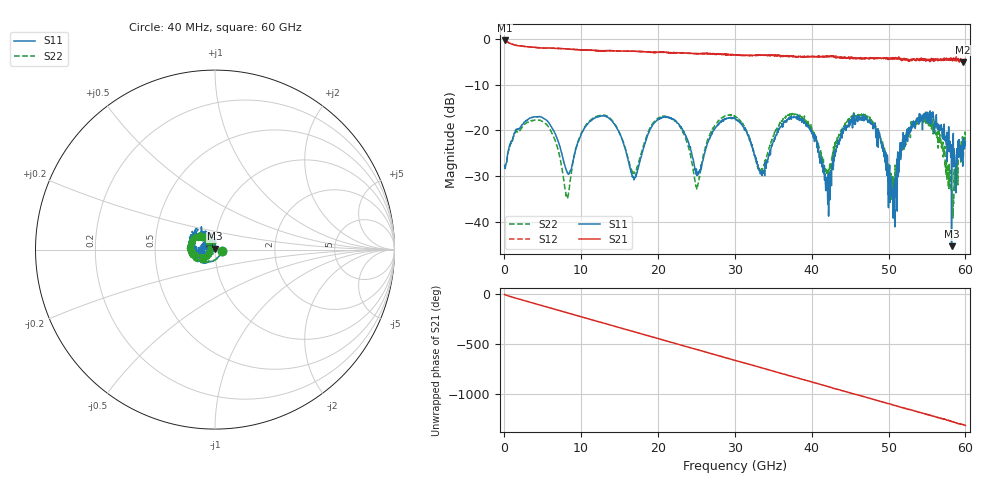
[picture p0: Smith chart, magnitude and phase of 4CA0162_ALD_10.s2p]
! File created by 'SoftPlot +Plus+ Measurement Management Software'
! SoftPlot +Plus+ Measurement Management Software
! Start 40.000000 MHz  Stop 60.000000 GHz  Points 1601
# MHZ S RI R 50
! S-Parameter data, F S11 S21 S12 S22
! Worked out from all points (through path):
!   1601 points, 40 MHz to 60 GHz, reference 50 ohm
!   highest |S21| = -0.36 dB at 40 MHz (marker M1); lowest = -5.1 dB at 59.63 GHz (marker M2)
!   group delay of S21, straight-line fit = 60.7 ps
!   lowest |S11| = -45.3 dB at 58.2 GHz (marker M3), VSWR 1.01, Z = 49.7 + j0.465 ohm
!   |S11| at or under -10 dB: start of sweep to end of sweep
!   |S22| runs from -39.2 to -16.2 dB; largest |S21 - S12| = 0.066
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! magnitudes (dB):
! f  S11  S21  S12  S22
! 40 MHz  -27.7  -0.4  -0.4  -27.9
! 4.762 GHz  -17.1  -2.0  -2.0  -17.9
! 8.172 GHz  -29.2  -2.2  -2.2  -34.7
! 10.05 GHz  -20.8  -2.5  -2.4  -20.5
! 13.68 GHz  -17.4  -2.6  -2.6  -17.3
! 16.9 GHz  -30.4  -2.7  -2.7  -29.5
! 20.05 GHz  -17.6  -3.0  -2.9  -17.4
! 23.01 GHz  -19.4  -3.0  -3.1  -19.7
! 25.04 GHz  -29.9  -3.2  -3.2  -32.8
! 27.1 GHz  -20.5  -3.3  -3.3  -19.7
! 30.02 GHz  -17.3  -3.5  -3.5  -16.9
! 33.32 GHz  -29.6  -3.6  -3.6  -28.9
! 36.69 GHz  -18.0  -3.8  -3.7  -16.9
! 40.03 GHz  -20.5  -3.9  -3.9  -19.8
! 42.05 GHz  -33.3  -3.8  -3.9  -29.0
! 44.07 GHz  -20.6  -4.1  -4.1  -19.1
! 47.26 GHz  -17.9  -4.3  -4.4  -17.3
! 50.03 GHz  -32.5  -4.3  -4.2  -31.6
! 54.3 GHz  -17.0  -4.4  -4.6  -18.0
! 58.2 GHz  -45.3  -4.2  -4.3  -32.8
! 59.63 GHz  -26.5  -5.1  -4.8  -21.4
! 60 GHz  -22.4  -4.6  -4.9  -21.4
